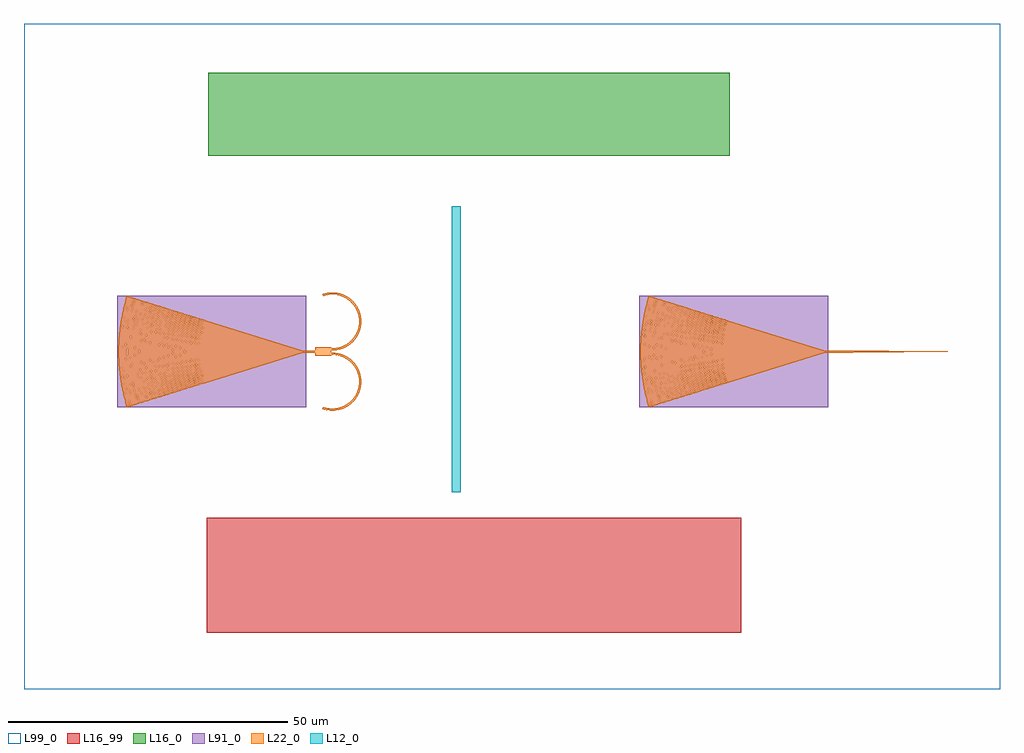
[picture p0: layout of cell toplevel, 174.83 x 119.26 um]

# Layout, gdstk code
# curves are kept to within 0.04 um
from math import pi, radians
import gdstk
lib = gdstk.Library(unit=1e-6, precision=1e-09)
def R(c, l, rs):  # rectangles x0, y0, x1, y1
    for r in rs: c.add(gdstk.rectangle(r[:2], r[2:], *l))
def P(c, l, *ps):  # polygons
    for p in ps: c.add(gdstk.Polygon(p, *l))
L12_0 = (12, 0)
L16_0 = (16, 0)
L16_99 = (16, 99)
L22_0 = (22, 0)
L91_0 = (91, 0)
L99_0 = (99, 0)

arc = lib.new_cell('arc')
P(arc, L22_0, [(18.424,-5.724),(18.233,-5.665),(18.622,-4.216),(18.871,-2.906),(19.028,-1.582),(19.093,-0.083),(19.041,1.416),(18.871,2.906),(18.622,4.216),(18.233,5.665),(18.424,5.724),(18.779,4.425),(19.068,2.937),(19.227,1.599),(19.293,0.084),(19.252,-1.263),(19.093,-2.77),(18.817,-4.26)])

arc002 = lib.new_cell('arc002')
P(arc002, L22_0, [(19.203,-5.966),(19.012,-5.907),(19.378,-4.566),(19.676,-3.03),(19.84,-1.65),(19.908,-0.087),(19.853,1.476),(19.702,2.858),(19.417,4.396),(19.012,5.907),(19.203,5.966),(19.612,4.44),(19.874,3.061),(20.053,1.491),(20.108,0.088),(20.053,-1.491),(19.874,-3.061),(19.612,-4.44)])

arc003 = lib.new_cell('arc003')
P(arc003, L22_0, [(19.701,-6.121),(19.292,-5.994),(19.703,-4.461),(19.966,-3.075),(20.146,-1.498),(20.201,-0.088),(20.146,1.498),(19.966,3.075),(19.703,4.461),(19.292,5.994),(19.701,6.121),(20.121,4.556),(20.39,3.14),(20.559,1.709),(20.63,0.09),(20.573,-1.53),(20.39,-3.14),(20.121,-4.556)])

arc004 = lib.new_cell('arc004')
P(arc004, L22_0, [(19.981,-6.208),(19.79,-6.149),(20.212,-4.576),(20.482,-3.154),(20.652,-1.717),(20.723,-0.09),(20.666,1.537),(20.482,3.154),(20.212,4.576),(19.79,6.149),(19.981,6.208),(20.366,4.798),(20.679,3.185),(20.866,1.551),(20.923,0.091),(20.866,-1.551),(20.679,-3.185),(20.366,-4.798)])

arc013 = lib.new_cell('arc013')
P(arc013, L22_0, [(23.592,-7.33),(23.183,-7.203),(23.677,-5.361),(23.993,-3.695),(24.193,-2.011),(24.276,-0.106),(24.224,1.589),(24.025,3.485),(23.677,5.361),(23.183,7.203),(23.592,7.33),(24.047,5.666),(24.417,3.76),(24.637,1.832),(24.705,0.108),(24.637,-1.832),(24.449,-3.547),(24.095,-5.455)])

arc024 = lib.new_cell('arc024')
P(arc024, L22_0, [(27.764,-8.626),(27.573,-8.567),(27.921,-7.355),(28.215,-6.13),(28.456,-4.892),(28.642,-3.646),(28.811,-1.889),(28.873,-0.126),(28.827,1.638),(28.642,3.646),(28.456,4.892),(28.215,6.13),(27.921,7.355),(27.573,8.567),(27.764,8.626),(28.298,6.667),(28.514,5.675),(28.734,4.425),(28.9,3.167),(28.993,2.156),(29.073,0.127),(29.011,-1.903),(28.927,-2.914),(28.772,-4.174),(28.609,-5.176),(28.355,-6.42),(28.114,-7.406)])

arc001 = lib.new_cell('arc001')
P(arc001, L22_0, [(18.923,-5.879),(18.513,-5.752),(18.87,-4.446),(19.16,-2.951),(19.32,-1.606),(19.386,-0.085),(19.333,1.438),(19.16,2.951),(18.87,4.446),(18.513,5.752),(18.923,5.879),(19.326,4.376),(19.584,3.016),(19.747,1.642),(19.815,0.087),(19.773,-1.297),(19.61,-2.845),(19.326,-4.376)])

arc025 = lib.new_cell('arc025')
P(arc025, L22_0, [(28.262,-8.781),(27.853,-8.654),(28.389,-6.689),(28.826,-4.439),(29.066,-2.417),(29.166,-0.127),(29.104,1.909),(28.864,4.188),(28.446,6.441),(27.853,8.654),(28.262,8.781),(28.806,6.787),(29.25,4.505),(29.514,2.195),(29.595,0.129),(29.514,-2.195),(29.25,-4.505),(28.806,-6.787)])

arc005 = lib.new_cell('arc005')
P(arc005, L22_0, [(20.479,-6.363),(20.07,-6.236),(20.456,-4.82),(20.771,-3.199),(20.944,-1.741),(21.016,-0.092),(20.971,1.375),(20.799,3.017),(20.497,4.641),(20.07,6.236),(20.479,6.363),(20.916,4.736),(21.195,3.264),(21.386,1.59),(21.445,0.094),(21.386,-1.59),(21.223,-3.079),(20.916,-4.736)])

arc014 = lib.new_cell('arc014')
P(arc014, L22_0, [(23.872,-7.417),(23.681,-7.358),(24.186,-5.476),(24.509,-3.775),(24.713,-2.055),(24.798,-0.108),(24.745,1.623),(24.6,3.131),(24.44,4.202),(24.233,5.265),(23.98,6.317),(23.681,7.358),(23.872,7.417),(24.332,5.733),(24.707,3.805),(24.912,2.071),(24.998,0.109),(24.929,-1.854),(24.707,-3.805),(24.332,-5.733)])

arc026 = lib.new_cell('arc026')
P(arc026, L22_0, [(28.542,-8.868),(28.351,-8.809),(28.709,-7.563),(29.011,-6.303),(29.259,-5.031),(29.451,-3.749),(29.625,-1.943),(29.688,-0.13),(29.625,1.943),(29.451,3.749),(29.259,5.031),(29.011,6.303),(28.709,7.563),(28.351,8.809),(28.542,8.868),(29.092,6.854),(29.363,5.578),(29.54,4.549),(29.681,3.515),(29.806,2.216),(29.888,0.13),(29.865,-1.174),(29.806,-2.216),(29.681,-3.515),(29.54,-4.549),(29.363,-5.578),(29.092,-6.854)])

arc006 = lib.new_cell('arc006')
P(arc006, L22_0, [(20.759,-6.45),(20.568,-6.391),(20.964,-4.939),(21.287,-3.278),(21.479,-1.597),(21.538,-0.094),(21.479,1.597),(21.315,3.092),(21.006,4.756),(20.568,6.391),(20.759,6.45),(21.202,4.8),(21.485,3.309),(21.678,1.612),(21.738,0.095),(21.678,-1.612),(21.485,-3.309),(21.202,-4.8)])

arc015 = lib.new_cell('arc015')
P(arc015, L22_0, [(24.371,-7.572),(23.961,-7.445),(24.423,-5.754),(24.799,-3.819),(25.005,-2.079),(25.091,-0.11),(25.022,1.861),(24.799,3.819),(24.423,5.754),(23.961,7.445),(24.371,7.572),(24.84,5.853),(25.223,3.884),(25.45,1.892),(25.52,0.111),(25.45,-1.892),(25.256,-3.664),(24.89,-5.635)])

arc027 = lib.new_cell('arc027')
P(arc027, L22_0, [(29.041,-9.023),(28.631,-8.896),(29.241,-6.621),(29.632,-4.563),(29.899,-2.223),(29.981,-0.131),(29.899,2.223),(29.671,4.305),(29.241,6.621),(28.631,8.896),(29.041,9.023),(29.6,6.974),(30.056,4.629),(30.326,2.255),(30.41,0.133),(30.326,-2.255),(30.056,-4.629),(29.6,-6.974)])

arc007 = lib.new_cell('arc007')
P(arc007, L22_0, [(21.258,-6.605),(20.848,-6.478),(21.292,-4.821),(21.577,-3.323),(21.771,-1.619),(21.831,-0.095),(21.771,1.619),(21.577,3.323),(21.292,4.821),(20.848,6.478),(21.258,6.605),(21.667,5.105),(22.001,3.388),(22.199,1.651),(22.26,0.097),(22.199,-1.651),(22.001,-3.388),(21.667,-5.105)])

arc016 = lib.new_cell('arc016')
P(arc016, L22_0, [(24.651,-7.659),(24.46,-7.6),(24.931,-5.874),(25.315,-3.899),(25.543,-1.899),(25.613,-0.112),(25.572,1.453),(25.408,3.234),(25.243,4.34),(25.029,5.438),(24.768,6.525),(24.46,7.6),(24.651,7.659),(24.962,6.576),(25.176,5.7),(25.512,3.929),(25.66,2.812),(25.742,1.914),(25.813,0.113),(25.758,-1.689),(25.66,-2.812),(25.546,-3.706),(25.36,-4.818),(25.176,-5.7),(24.962,-6.576)])

arc028 = lib.new_cell('arc028')
P(arc028, L22_0, [(29.321,-9.11),(29.13,-9.051),(29.497,-7.771),(29.808,-6.476),(30.062,-5.169),(30.259,-3.852),(30.438,-1.996),(30.503,-0.133),(30.438,1.996),(30.259,3.852),(30.062,5.169),(29.808,6.476),(29.497,7.771),(29.13,9.051),(29.321,9.11),(29.885,7.041),(30.113,5.993),(30.345,4.673),(30.598,2.544),(30.668,1.474),(30.703,0.134),(30.689,-0.938),(30.619,-2.277),(30.385,-4.408),(30.213,-5.467),(29.945,-6.78),(29.621,-8.08)])

arc031 = lib.new_cell('arc031')
P(arc031, L22_0, [(30.597,-9.507),(30.188,-9.379),(30.831,-6.981),(31.243,-4.812),(31.503,-2.619),(31.611,-0.138),(31.544,2.069),(31.284,4.539),(30.831,6.981),(30.188,9.379),(30.597,9.507),(31.186,7.348),(31.667,4.877),(31.952,2.376),(32.04,0.14),(31.952,-2.376),(31.667,-4.877),(31.186,-7.348)])

arc017 = lib.new_cell('arc017')
P(arc017, L22_0, [(25.149,-7.814),(24.74,-7.687),(25.267,-5.721),(25.604,-3.943),(25.835,-1.921),(25.906,-0.113),(25.851,1.695),(25.638,3.72),(25.267,5.721),(24.74,7.687),(25.149,7.814),(25.685,5.815),(26.028,4.008),(26.244,2.182),(26.335,0.115),(26.279,-1.723),(26.062,-3.781),(25.685,-5.815)])

arc029 = lib.new_cell('arc029')
P(arc029, L22_0, [(29.819,-9.265),(29.409,-9.138),(29.976,-7.063),(30.437,-4.688),(30.712,-2.284),(30.796,-0.134),(30.712,2.284),(30.477,4.422),(30.036,6.801),(29.409,9.138),(29.819,9.265),(30.393,7.161),(30.861,4.753),(31.118,2.587),(31.225,0.136),(31.139,-2.315),(30.861,-4.753),(30.393,-7.161)])

arc008 = lib.new_cell('arc008')
P(arc008, L22_0, [(21.538,-6.692),(21.347,-6.632),(21.801,-4.936),(22.093,-3.402),(22.292,-1.658),(22.353,-0.098),(22.292,1.658),(22.122,3.209),(21.801,4.936),(21.347,6.632),(21.538,6.692),(21.952,5.172),(22.29,3.433),(22.476,1.869),(22.553,0.098),(22.491,-1.672),(22.29,-3.433),(21.952,-5.172)])

arc019 = lib.new_cell('arc019')
P(arc019, L22_0, [(25.927,-8.056),(25.518,-7.928),(26.062,-5.901),(26.41,-4.067),(26.648,-1.981),(26.721,-0.117),(26.648,1.981),(26.41,4.067),(26.062,5.901),(25.518,7.928),(25.927,8.056),(26.48,5.995),(26.834,4.133),(27.057,2.25),(27.15,0.119),(27.075,-2.013),(26.834,-4.133),(26.48,-5.995)])

arc030 = lib.new_cell('arc030')
P(arc030, L22_0, [(30.099,-9.352),(29.908,-9.292),(30.285,-7.978),(30.545,-6.916),(30.818,-5.576),(31.032,-4.226),(31.232,-2.322),(31.318,-0.137),(31.268,1.777),(31.067,3.955),(30.865,5.307),(30.604,6.649),(30.285,7.978),(29.908,9.292),(30.099,9.352),(30.407,8.295),(30.74,6.96),(31.151,4.797),(31.41,2.611),(31.482,1.513),(31.518,0.138),(31.451,-2.063),(31.331,-3.433),(31.192,-4.525),(31.015,-5.612),(30.74,-6.96),(30.407,-8.295)])

arc032 = lib.new_cell('arc032')
P(arc032, L22_0, [(30.877,-9.594),(30.686,-9.534),(31.073,-8.186),(31.401,-6.822),(31.668,-5.445),(31.876,-4.058),(32.064,-2.103),(32.133,-0.14),(32.064,2.103),(31.876,4.058),(31.668,5.445),(31.401,6.822),(31.073,8.186),(30.686,9.534),(30.877,9.594),(31.266,8.237),(31.535,7.14),(31.765,6.034),(31.956,4.921),(32.109,3.803),(32.222,2.679),(32.296,1.552),(32.333,0.141),(32.264,-2.116),(32.141,-3.522),(31.998,-4.642),(31.817,-5.757),(31.535,-7.14),(31.266,-8.237)])

arc018 = lib.new_cell('arc018')
P(arc018, L22_0, [(25.429,-7.901),(25.238,-7.841),(25.556,-6.732),(25.826,-5.611),(26.046,-4.478),(26.217,-3.337),(26.372,-1.729),(26.428,-0.115),(26.372,1.729),(26.217,3.337),(26.046,4.478),(25.826,5.611),(25.556,6.732),(25.238,7.841),(25.429,7.901),(25.75,6.783),(25.971,5.88),(26.318,4.053),(26.537,2.206),(26.608,1.046),(26.628,0.116),(26.608,-1.046),(26.555,-1.975),(26.47,-2.901),(26.318,-4.053),(25.971,-5.88),(25.75,-6.783)])

arc033 = lib.new_cell('arc033')
P(arc033, L22_0, [(31.375,-9.748),(30.966,-9.621),(31.626,-7.16),(32.048,-4.936),(32.315,-2.687),(32.426,-0.142),(32.357,2.122),(32.09,4.656),(31.626,7.16),(30.966,9.621),(31.375,9.748),(32.044,7.255),(32.472,5.001),(32.765,2.436),(32.855,0.143),(32.765,-2.436),(32.515,-4.717),(32.044,-7.255)])

arc009 = lib.new_cell('arc009')
P(arc009, L22_0, [(22.036,-6.847),(21.627,-6.719),(22.043,-5.193),(22.382,-3.447),(22.584,-1.679),(22.646,-0.099),(22.598,1.482),(22.412,3.251),(22.087,5.001),(21.627,6.719),(22.036,6.847),(22.46,5.292),(22.806,3.512),(22.996,1.912),(23.075,0.101),(23.026,-1.51),(22.836,-3.313),(22.505,-5.095)])

arc020 = lib.new_cell('arc020')
P(arc020, L22_0, [(26.207,-8.143),(26.016,-8.083),(26.344,-6.94),(26.622,-5.784),(26.849,-4.616),(27.025,-3.44),(27.185,-1.783),(27.243,-0.119),(27.185,1.783),(27.025,3.44),(26.849,4.616),(26.622,5.784),(26.344,6.94),(26.016,8.083),(26.207,8.143),(26.712,6.294),(26.961,5.122),(27.123,4.177),(27.253,3.227),(27.368,2.035),(27.443,0.12),(27.422,-1.078),(27.368,-2.035),(27.159,-3.94),(27.005,-4.886),(26.766,-6.06),(26.538,-6.991)])

arc034 = lib.new_cell('arc034')
P(arc034, L22_0, [(31.655,-9.835),(31.464,-9.776),(31.787,-8.671),(32.135,-7.276),(32.422,-5.866),(32.647,-4.446),(32.878,-2.156),(32.948,-0.144),(32.933,1.007),(32.878,2.156),(32.647,4.446),(32.422,5.866),(32.135,7.276),(31.787,8.671),(31.464,9.776),(31.655,9.835),(31.98,8.724),(32.265,7.602),(32.566,6.186),(32.762,5.046),(32.951,3.611),(33.057,2.458),(33.123,1.302),(33.148,0.145),(33.123,-1.302),(33.057,-2.458),(32.951,-3.611),(32.805,-4.759),(32.619,-5.902),(32.33,-7.32),(31.98,-8.724)])

arc010 = lib.new_cell('arc010')
P(arc010, L22_0, [(22.316,-6.934),(22.125,-6.874),(22.551,-5.313),(22.898,-3.526),(23.104,-1.718),(23.168,-0.101),(23.104,1.718),(22.928,3.326),(22.596,5.116),(22.125,6.874),(22.316,6.934),(22.791,5.16),(23.096,3.557),(23.304,1.733),(23.368,0.102),(23.304,-1.733),(23.096,-3.557),(22.791,-5.16)])

arc021 = lib.new_cell('arc021')
P(arc021, L22_0, [(26.706,-8.297),(26.296,-8.17),(26.857,-6.081),(27.215,-4.191),(27.461,-2.042),(27.536,-0.12),(27.461,2.042),(27.251,3.954),(26.857,6.081),(26.296,8.17),(26.706,8.297),(27.275,6.175),(27.639,4.257),(27.869,2.317),(27.965,0.122),(27.888,-2.074),(27.639,-4.257),(27.275,-6.175)])

arc035 = lib.new_cell('arc035')
P(arc035, L22_0, [(32.154,-9.99),(31.744,-9.863),(32.421,-7.34),(32.854,-5.06),(33.15,-2.465),(33.241,-0.145),(33.15,2.465),(32.897,4.773),(32.421,7.34),(31.744,9.863),(32.154,9.99),(32.773,7.722),(33.278,5.125),(33.554,2.79),(33.67,0.147),(33.577,-2.497),(33.278,-5.125),(32.773,-7.722)])

arc011 = lib.new_cell('arc011')
P(arc011, L22_0, [(22.814,-7.088),(22.405,-6.961),(22.882,-5.181),(23.188,-3.571),(23.381,-1.944),(23.461,-0.102),(23.397,1.74),(23.188,3.571),(22.882,5.181),(22.405,6.961),(22.814,7.088),(23.253,5.479),(23.612,3.636),(23.808,1.979),(23.89,0.104),(23.824,-1.771),(23.612,-3.636),(23.253,-5.479)])

arc022 = lib.new_cell('arc022')
P(arc022, L22_0, [(26.986,-8.384),(26.795,-8.325),(27.132,-7.148),(27.419,-5.957),(27.652,-4.754),(27.834,-3.543),(27.998,-1.836),(28.058,-0.122),(28.013,1.592),(27.834,3.543),(27.652,4.754),(27.419,5.957),(27.132,7.148),(26.795,8.325),(26.986,8.384),(27.326,7.199),(27.561,6.24),(27.929,4.301),(28.161,2.341),(28.226,1.357),(28.258,0.123),(28.245,-0.863),(28.18,-2.095),(28.09,-3.078),(27.929,-4.301),(27.561,-6.24),(27.326,-7.199)])

boolean = lib.new_cell('boolean')
P(boolean, L22_0, [(18.144,-5.637),(0.563,-0.175),(0.563,0.175),(18.144,5.637),(18.513,4.274),(18.791,2.808),(18.954,1.325),(19,0),(18.954,-1.325),(18.791,-2.808),(18.513,-4.274)])

arc012 = lib.new_cell('arc012')
P(arc012, L22_0, [(23.094,-7.175),(22.903,-7.116),(23.344,-5.5),(23.704,-3.65),(23.901,-1.987),(23.983,-0.105),(23.932,1.569),(23.735,3.443),(23.391,5.296),(22.903,7.116),(23.094,7.175),(23.539,5.546),(23.901,3.681),(24.117,1.793),(24.183,0.106),(24.117,-1.793),(23.933,-3.472),(23.586,-5.34)])

arc023 = lib.new_cell('arc023')
P(arc023, L22_0, [(27.484,-8.539),(27.075,-8.412),(27.596,-6.502),(28.021,-4.315),(28.254,-2.349),(28.351,-0.124),(28.291,1.855),(28.058,4.071),(27.651,6.261),(27.075,8.412),(27.484,8.539),(28.07,6.355),(28.445,4.381),(28.701,2.134),(28.78,0.126),(28.701,-2.134),(28.445,-4.381),(28.07,-6.355)])

unnamed001 = lib.new_cell('Unnamed001')
R(unnamed001, L91_0, [(-33.85,-10,0,10)])
unnamed001.add(gdstk.Reference(arc, (0,0), rotation=pi))
unnamed001.add(gdstk.Reference(arc002, (0,0), rotation=pi))
unnamed001.add(gdstk.Reference(arc003, (0,0), rotation=pi))
unnamed001.add(gdstk.Reference(arc004, (0,0), rotation=pi))
unnamed001.add(gdstk.Reference(arc013, (0,0), rotation=pi))
unnamed001.add(gdstk.Reference(arc024, (0,0), rotation=pi))
unnamed001.add(gdstk.Reference(arc001, (0,0), rotation=pi))
unnamed001.add(gdstk.Reference(arc025, (0,0), rotation=pi))
unnamed001.add(gdstk.Reference(arc005, (0,0), rotation=pi))
unnamed001.add(gdstk.Reference(arc014, (0,0), rotation=pi))
unnamed001.add(gdstk.Reference(arc026, (0,0), rotation=pi))
unnamed001.add(gdstk.Reference(arc006, (0,0), rotation=pi))
unnamed001.add(gdstk.Reference(arc015, (0,0), rotation=pi))
unnamed001.add(gdstk.Reference(arc027, (0,0), rotation=pi))
unnamed001.add(gdstk.Reference(arc007, (0,0), rotation=pi))
unnamed001.add(gdstk.Reference(arc016, (0,0), rotation=pi))
unnamed001.add(gdstk.Reference(arc028, (0,0), rotation=pi))
unnamed001.add(gdstk.Reference(arc031, (0,0), rotation=pi))
unnamed001.add(gdstk.Reference(arc017, (0,0), rotation=pi))
unnamed001.add(gdstk.Reference(arc029, (0,0), rotation=pi))
unnamed001.add(gdstk.Reference(arc008, (0,0), rotation=pi))
unnamed001.add(gdstk.Reference(arc019, (0,0), rotation=pi))
unnamed001.add(gdstk.Reference(arc030, (0,0), rotation=pi))
unnamed001.add(gdstk.Reference(arc032, (0,0), rotation=pi))
unnamed001.add(gdstk.Reference(arc018, (0,0), rotation=pi))
unnamed001.add(gdstk.Reference(arc033, (0,0), rotation=pi))
unnamed001.add(gdstk.Reference(arc009, (0,0), rotation=pi))
unnamed001.add(gdstk.Reference(arc020, (0,0), rotation=pi))
unnamed001.add(gdstk.Reference(arc034, (0,0), rotation=pi))
unnamed001.add(gdstk.Reference(arc010, (0,0), rotation=pi))
unnamed001.add(gdstk.Reference(arc021, (0,0), rotation=pi))
unnamed001.add(gdstk.Reference(arc035, (0,0), rotation=pi))
unnamed001.add(gdstk.Reference(arc011, (0,0), rotation=pi))
unnamed001.add(gdstk.Reference(arc022, (0,0), rotation=pi))
unnamed001.add(gdstk.Reference(boolean, (0,0), rotation=pi))
unnamed001.add(gdstk.Reference(arc012, (0,0), rotation=pi))
unnamed001.add(gdstk.Reference(arc023, (0,0), rotation=pi))

unnamed003 = lib.new_cell('Unnamed003')
R(unnamed003, L22_0, [(0,-0.175,2,0.175)])

taper = lib.new_cell('taper')
R(taper, L22_0, [(0,-0.175,0.2,0.175)])

taper001 = lib.new_cell('taper001')
R(taper001, L22_0, [(0,-0.775,2.8,0.775)])

unnamed004 = lib.new_cell('Unnamed004')
unnamed004.add(gdstk.Reference(taper, (3,-0.4)))
unnamed004.add(gdstk.Reference(taper, (0,0)))
unnamed004.add(gdstk.Reference(taper, (3,0.4)))
unnamed004.add(gdstk.Reference(taper001, (0.2,0)))

unnamed006 = lib.new_cell('Unnamed006')
R(unnamed006, L22_0, [(0,-0.175,0.01,0.175)])

unnamed007 = lib.new_cell('Unnamed007')
P(unnamed007, L22_0, [(-0.066,-10.175),(-0.942,-10.089),(-1.77,-9.863),(-1.65,-9.534),(-1.085,-9.702),(-0.503,-9.799),(0.065,-9.825),(0.654,-9.781),(1.713,-9.511),(2.232,-9.278),(2.738,-8.973),(3.605,-8.208),(3.969,-7.744),(4.264,-7.258),(4.669,-6.219),(4.78,-5.661),(4.825,-5.052),(4.757,-4.191),(4.515,-3.297),(4.084,-2.43),(3.561,-1.744),(2.822,-1.086),(1.965,-0.593),(0.984,-0.276),(0,-0.175),(0,0.175),(0.068,0.175),(1.077,0.062),(2.024,-0.237),(2.934,-0.737),(3.695,-1.376),(4.344,-2.187),(4.793,-3.048),(5.082,-4.021),(5.175,-5.055),(5.06,-6.087),(4.75,-7.055),(4.257,-7.943),(3.6,-8.718),(2.824,-9.337),(1.922,-9.805),(0.969,-10.084)])

unnamed009 = lib.new_cell('Unnamed009')
R(unnamed009, L22_0, [(0,-0.175,0.01,0.175)])

unnamed010 = lib.new_cell('Unnamed010')
P(unnamed010, L22_0, [(0,-0.175),(0,0.175),(0.984,0.276),(1.868,0.551),(2.719,1.014),(3.489,1.667),(4.084,2.43),(4.492,3.238),(4.73,4.046),(4.825,4.946),(4.704,6.075),(4.523,6.681),(4.313,7.164),(4.04,7.639),(3.674,8.128),(3.265,8.553),(2.807,8.925),(2.344,9.218),(1.772,9.488),(1.191,9.676),(0.654,9.781),(0.065,9.825),(-0.503,9.799),(-1.085,9.702),(-1.65,9.534),(-1.749,9.871),(-0.898,10.097),(0.07,10.175),(1.124,10.052),(2.027,9.762),(2.918,9.274),(3.712,8.606),(4.333,7.83),(4.819,6.887),(5.078,5.999),(5.175,4.942),(5.064,3.933),(4.767,2.985),(4.256,2.055),(3.631,1.312),(2.841,0.674),(1.962,0.211),(0.989,-0.08)])

unnamed002 = lib.new_cell('Unnamed002')
unnamed002.add(gdstk.Reference(unnamed001, (33.67,0)))
unnamed002.add(gdstk.Reference(unnamed003, (33.106,0)))
unnamed002.add(gdstk.Reference(unnamed004, (35.106,0)))
unnamed002.add(gdstk.Reference(unnamed006, (38.306,-0.4)))
unnamed002.add(gdstk.Reference(unnamed007, (38.316,-0.4)))
unnamed002.add(gdstk.Reference(unnamed009, (38.306,0.4)))
unnamed002.add(gdstk.Reference(unnamed010, (38.316,0.4)))

arc039 = lib.new_cell('arc039')
P(arc039, L22_0, [(19.701,-6.121),(19.292,-5.994),(19.703,-4.461),(19.966,-3.075),(20.146,-1.498),(20.201,-0.088),(20.146,1.498),(19.966,3.075),(19.703,4.461),(19.292,5.994),(19.701,6.121),(20.121,4.556),(20.39,3.14),(20.559,1.709),(20.63,0.09),(20.573,-1.53),(20.39,-3.14),(20.121,-4.556)])

arc049 = lib.new_cell('arc049')
P(arc049, L22_0, [(23.592,-7.33),(23.183,-7.203),(23.677,-5.361),(23.993,-3.695),(24.193,-2.011),(24.276,-0.106),(24.224,1.589),(24.025,3.485),(23.677,5.361),(23.183,7.203),(23.592,7.33),(24.047,5.666),(24.417,3.76),(24.637,1.832),(24.705,0.108),(24.637,-1.832),(24.449,-3.547),(24.095,-5.455)])

arc055 = lib.new_cell('arc055')
P(arc055, L22_0, [(25.927,-8.056),(25.518,-7.928),(26.062,-5.901),(26.41,-4.067),(26.648,-1.981),(26.721,-0.117),(26.648,1.981),(26.41,4.067),(26.062,5.901),(25.518,7.928),(25.927,8.056),(26.48,5.995),(26.834,4.133),(27.057,2.25),(27.15,0.119),(27.075,-2.013),(26.834,-4.133),(26.48,-5.995)])

arc056 = lib.new_cell('arc056')
P(arc056, L22_0, [(26.207,-8.143),(26.016,-8.083),(26.344,-6.94),(26.622,-5.784),(26.849,-4.616),(27.025,-3.44),(27.185,-1.783),(27.243,-0.119),(27.185,1.783),(27.025,3.44),(26.849,4.616),(26.622,5.784),(26.344,6.94),(26.016,8.083),(26.207,8.143),(26.712,6.294),(26.961,5.122),(27.123,4.177),(27.253,3.227),(27.368,2.035),(27.443,0.12),(27.422,-1.078),(27.368,-2.035),(27.159,-3.94),(27.005,-4.886),(26.766,-6.06),(26.538,-6.991)])

arc064 = lib.new_cell('arc064')
P(arc064, L22_0, [(29.321,-9.11),(29.13,-9.051),(29.497,-7.771),(29.808,-6.476),(30.062,-5.169),(30.259,-3.852),(30.438,-1.996),(30.503,-0.133),(30.438,1.996),(30.259,3.852),(30.062,5.169),(29.808,6.476),(29.497,7.771),(29.13,9.051),(29.321,9.11),(29.885,7.041),(30.113,5.993),(30.345,4.673),(30.598,2.544),(30.668,1.474),(30.703,0.134),(30.689,-0.938),(30.619,-2.277),(30.385,-4.408),(30.213,-5.467),(29.945,-6.78),(29.621,-8.08)])

arc070 = lib.new_cell('arc070')
P(arc070, L22_0, [(31.655,-9.835),(31.464,-9.776),(31.787,-8.671),(32.135,-7.276),(32.422,-5.866),(32.647,-4.446),(32.878,-2.156),(32.948,-0.144),(32.933,1.007),(32.878,2.156),(32.647,4.446),(32.422,5.866),(32.135,7.276),(31.787,8.671),(31.464,9.776),(31.655,9.835),(31.98,8.724),(32.265,7.602),(32.566,6.186),(32.762,5.046),(32.951,3.611),(33.057,2.458),(33.123,1.302),(33.148,0.145),(33.123,-1.302),(33.057,-2.458),(32.951,-3.611),(32.805,-4.759),(32.619,-5.902),(32.33,-7.32),(31.98,-8.724)])

arc040 = lib.new_cell('arc040')
P(arc040, L22_0, [(19.981,-6.208),(19.79,-6.149),(20.212,-4.576),(20.482,-3.154),(20.652,-1.717),(20.723,-0.09),(20.666,1.537),(20.482,3.154),(20.212,4.576),(19.79,6.149),(19.981,6.208),(20.366,4.798),(20.679,3.185),(20.866,1.551),(20.923,0.091),(20.866,-1.551),(20.679,-3.185),(20.366,-4.798)])

arc050 = lib.new_cell('arc050')
P(arc050, L22_0, [(23.872,-7.417),(23.681,-7.358),(24.186,-5.476),(24.509,-3.775),(24.713,-2.055),(24.798,-0.108),(24.745,1.623),(24.6,3.131),(24.44,4.202),(24.233,5.265),(23.98,6.317),(23.681,7.358),(23.872,7.417),(24.332,5.733),(24.707,3.805),(24.912,2.071),(24.998,0.109),(24.929,-1.854),(24.707,-3.805),(24.332,-5.733)])

arc057 = lib.new_cell('arc057')
P(arc057, L22_0, [(26.706,-8.297),(26.296,-8.17),(26.857,-6.081),(27.215,-4.191),(27.461,-2.042),(27.536,-0.12),(27.461,2.042),(27.251,3.954),(26.857,6.081),(26.296,8.17),(26.706,8.297),(27.275,6.175),(27.639,4.257),(27.869,2.317),(27.965,0.122),(27.888,-2.074),(27.639,-4.257),(27.275,-6.175)])

arc041 = lib.new_cell('arc041')
P(arc041, L22_0, [(20.479,-6.363),(20.07,-6.236),(20.456,-4.82),(20.771,-3.199),(20.944,-1.741),(21.016,-0.092),(20.971,1.375),(20.799,3.017),(20.497,4.641),(20.07,6.236),(20.479,6.363),(20.916,4.736),(21.195,3.264),(21.386,1.59),(21.445,0.094),(21.386,-1.59),(21.223,-3.079),(20.916,-4.736)])

arc065 = lib.new_cell('arc065')
P(arc065, L22_0, [(29.819,-9.265),(29.409,-9.138),(29.976,-7.063),(30.437,-4.688),(30.712,-2.284),(30.796,-0.134),(30.712,2.284),(30.477,4.422),(30.036,6.801),(29.409,9.138),(29.819,9.265),(30.393,7.161),(30.861,4.753),(31.118,2.587),(31.225,0.136),(31.139,-2.315),(30.861,-4.753),(30.393,-7.161)])

arc058 = lib.new_cell('arc058')
P(arc058, L22_0, [(26.986,-8.384),(26.795,-8.325),(27.132,-7.148),(27.419,-5.957),(27.652,-4.754),(27.834,-3.543),(27.998,-1.836),(28.058,-0.122),(28.013,1.592),(27.834,3.543),(27.652,4.754),(27.419,5.957),(27.132,7.148),(26.795,8.325),(26.986,8.384),(27.326,7.199),(27.561,6.24),(27.929,4.301),(28.161,2.341),(28.226,1.357),(28.258,0.123),(28.245,-0.863),(28.18,-2.095),(28.09,-3.078),(27.929,-4.301),(27.561,-6.24),(27.326,-7.199)])

arc042 = lib.new_cell('arc042')
P(arc042, L22_0, [(20.759,-6.45),(20.568,-6.391),(20.964,-4.939),(21.287,-3.278),(21.479,-1.597),(21.538,-0.094),(21.479,1.597),(21.315,3.092),(21.006,4.756),(20.568,6.391),(20.759,6.45),(21.202,4.8),(21.485,3.309),(21.678,1.612),(21.738,0.095),(21.678,-1.612),(21.485,-3.309),(21.202,-4.8)])

arc051 = lib.new_cell('arc051')
P(arc051, L22_0, [(24.371,-7.572),(23.961,-7.445),(24.423,-5.754),(24.799,-3.819),(25.005,-2.079),(25.091,-0.11),(25.022,1.861),(24.799,3.819),(24.423,5.754),(23.961,7.445),(24.371,7.572),(24.84,5.853),(25.223,3.884),(25.45,1.892),(25.52,0.111),(25.45,-1.892),(25.256,-3.664),(24.89,-5.635)])

arc059 = lib.new_cell('arc059')
P(arc059, L22_0, [(27.484,-8.539),(27.075,-8.412),(27.596,-6.502),(28.021,-4.315),(28.254,-2.349),(28.351,-0.124),(28.291,1.855),(28.058,4.071),(27.651,6.261),(27.075,8.412),(27.484,8.539),(28.07,6.355),(28.445,4.381),(28.701,2.134),(28.78,0.126),(28.701,-2.134),(28.445,-4.381),(28.07,-6.355)])

arc043 = lib.new_cell('arc043')
P(arc043, L22_0, [(21.258,-6.605),(20.848,-6.478),(21.292,-4.821),(21.577,-3.323),(21.771,-1.619),(21.831,-0.095),(21.771,1.619),(21.577,3.323),(21.292,4.821),(20.848,6.478),(21.258,6.605),(21.667,5.105),(22.001,3.388),(22.199,1.651),(22.26,0.097),(22.199,-1.651),(22.001,-3.388),(21.667,-5.105)])

arc066 = lib.new_cell('arc066')
P(arc066, L22_0, [(30.099,-9.352),(29.908,-9.292),(30.285,-7.978),(30.545,-6.916),(30.818,-5.576),(31.032,-4.226),(31.232,-2.322),(31.318,-0.137),(31.268,1.777),(31.067,3.955),(30.865,5.307),(30.604,6.649),(30.285,7.978),(29.908,9.292),(30.099,9.352),(30.407,8.295),(30.74,6.96),(31.151,4.797),(31.41,2.611),(31.482,1.513),(31.518,0.138),(31.451,-2.063),(31.331,-3.433),(31.192,-4.525),(31.015,-5.612),(30.74,-6.96),(30.407,-8.295)])

arc071 = lib.new_cell('arc071')
P(arc071, L22_0, [(32.154,-9.99),(31.744,-9.863),(32.421,-7.34),(32.854,-5.06),(33.15,-2.465),(33.241,-0.145),(33.15,2.465),(32.897,4.773),(32.421,7.34),(31.744,9.863),(32.154,9.99),(32.773,7.722),(33.278,5.125),(33.554,2.79),(33.67,0.147),(33.577,-2.497),(33.278,-5.125),(32.773,-7.722)])

arc044 = lib.new_cell('arc044')
P(arc044, L22_0, [(21.538,-6.692),(21.347,-6.632),(21.801,-4.936),(22.093,-3.402),(22.292,-1.658),(22.353,-0.098),(22.292,1.658),(22.122,3.209),(21.801,4.936),(21.347,6.632),(21.538,6.692),(21.952,5.172),(22.29,3.433),(22.476,1.869),(22.553,0.098),(22.491,-1.672),(22.29,-3.433),(21.952,-5.172)])

arc052 = lib.new_cell('arc052')
P(arc052, L22_0, [(24.651,-7.659),(24.46,-7.6),(24.931,-5.874),(25.315,-3.899),(25.543,-1.899),(25.613,-0.112),(25.572,1.453),(25.408,3.234),(25.243,4.34),(25.029,5.438),(24.768,6.525),(24.46,7.6),(24.651,7.659),(24.962,6.576),(25.176,5.7),(25.512,3.929),(25.66,2.812),(25.742,1.914),(25.813,0.113),(25.758,-1.689),(25.66,-2.812),(25.546,-3.706),(25.36,-4.818),(25.176,-5.7),(24.962,-6.576)])

arc045 = lib.new_cell('arc045')
P(arc045, L22_0, [(22.036,-6.847),(21.627,-6.719),(22.043,-5.193),(22.382,-3.447),(22.584,-1.679),(22.646,-0.099),(22.598,1.482),(22.412,3.251),(22.087,5.001),(21.627,6.719),(22.036,6.847),(22.46,5.292),(22.806,3.512),(22.996,1.912),(23.075,0.101),(23.026,-1.51),(22.836,-3.313),(22.505,-5.095)])

arc067 = lib.new_cell('arc067')
P(arc067, L22_0, [(30.597,-9.507),(30.188,-9.379),(30.831,-6.981),(31.243,-4.812),(31.503,-2.619),(31.611,-0.138),(31.544,2.069),(31.284,4.539),(30.831,6.981),(30.188,9.379),(30.597,9.507),(31.186,7.348),(31.667,4.877),(31.952,2.376),(32.04,0.14),(31.952,-2.376),(31.667,-4.877),(31.186,-7.348)])

arc046 = lib.new_cell('arc046')
P(arc046, L22_0, [(22.316,-6.934),(22.125,-6.874),(22.551,-5.313),(22.898,-3.526),(23.104,-1.718),(23.168,-0.101),(23.104,1.718),(22.928,3.326),(22.596,5.116),(22.125,6.874),(22.316,6.934),(22.791,5.16),(23.096,3.557),(23.304,1.733),(23.368,0.102),(23.304,-1.733),(23.096,-3.557),(22.791,-5.16)])

arc053 = lib.new_cell('arc053')
P(arc053, L22_0, [(25.149,-7.814),(24.74,-7.687),(25.267,-5.721),(25.604,-3.943),(25.835,-1.921),(25.906,-0.113),(25.851,1.695),(25.638,3.72),(25.267,5.721),(24.74,7.687),(25.149,7.814),(25.685,5.815),(26.028,4.008),(26.244,2.182),(26.335,0.115),(26.279,-1.723),(26.062,-3.781),(25.685,-5.815)])

arc036 = lib.new_cell('arc036')
P(arc036, L22_0, [(18.424,-5.724),(18.233,-5.665),(18.622,-4.216),(18.871,-2.906),(19.028,-1.582),(19.093,-0.083),(19.041,1.416),(18.871,2.906),(18.622,4.216),(18.233,5.665),(18.424,5.724),(18.779,4.425),(19.068,2.937),(19.227,1.599),(19.293,0.084),(19.252,-1.263),(19.093,-2.77),(18.817,-4.26)])

arc047 = lib.new_cell('arc047')
P(arc047, L22_0, [(22.814,-7.088),(22.405,-6.961),(22.882,-5.181),(23.188,-3.571),(23.381,-1.944),(23.461,-0.102),(23.397,1.74),(23.188,3.571),(22.882,5.181),(22.405,6.961),(22.814,7.088),(23.253,5.479),(23.612,3.636),(23.808,1.979),(23.89,0.104),(23.824,-1.771),(23.612,-3.636),(23.253,-5.479)])

arc068 = lib.new_cell('arc068')
P(arc068, L22_0, [(30.877,-9.594),(30.686,-9.534),(31.073,-8.186),(31.401,-6.822),(31.668,-5.445),(31.876,-4.058),(32.064,-2.103),(32.133,-0.14),(32.064,2.103),(31.876,4.058),(31.668,5.445),(31.401,6.822),(31.073,8.186),(30.686,9.534),(30.877,9.594),(31.266,8.237),(31.535,7.14),(31.765,6.034),(31.956,4.921),(32.109,3.803),(32.222,2.679),(32.296,1.552),(32.333,0.141),(32.264,-2.116),(32.141,-3.522),(31.998,-4.642),(31.817,-5.757),(31.535,-7.14),(31.266,-8.237)])

arc037 = lib.new_cell('arc037')
P(arc037, L22_0, [(18.923,-5.879),(18.513,-5.752),(18.87,-4.446),(19.16,-2.951),(19.32,-1.606),(19.386,-0.085),(19.333,1.438),(19.16,2.951),(18.87,4.446),(18.513,5.752),(18.923,5.879),(19.326,4.376),(19.584,3.016),(19.747,1.642),(19.815,0.087),(19.773,-1.297),(19.61,-2.845),(19.326,-4.376)])

arc048 = lib.new_cell('arc048')
P(arc048, L22_0, [(23.094,-7.175),(22.903,-7.116),(23.344,-5.5),(23.704,-3.65),(23.901,-1.987),(23.983,-0.105),(23.932,1.569),(23.735,3.443),(23.391,5.296),(22.903,7.116),(23.094,7.175),(23.539,5.546),(23.901,3.681),(24.117,1.793),(24.183,0.106),(24.117,-1.793),(23.933,-3.472),(23.586,-5.34)])

arc054 = lib.new_cell('arc054')
P(arc054, L22_0, [(25.429,-7.901),(25.238,-7.841),(25.556,-6.732),(25.826,-5.611),(26.046,-4.478),(26.217,-3.337),(26.372,-1.729),(26.428,-0.115),(26.372,1.729),(26.217,3.337),(26.046,4.478),(25.826,5.611),(25.556,6.732),(25.238,7.841),(25.429,7.901),(25.75,6.783),(25.971,5.88),(26.318,4.053),(26.537,2.206),(26.608,1.046),(26.628,0.116),(26.608,-1.046),(26.555,-1.975),(26.47,-2.901),(26.318,-4.053),(25.971,-5.88),(25.75,-6.783)])

arc038 = lib.new_cell('arc038')
P(arc038, L22_0, [(19.203,-5.966),(19.012,-5.907),(19.378,-4.566),(19.676,-3.03),(19.84,-1.65),(19.908,-0.087),(19.853,1.476),(19.702,2.858),(19.417,4.396),(19.012,5.907),(19.203,5.966),(19.612,4.44),(19.874,3.061),(20.053,1.491),(20.108,0.088),(20.053,-1.491),(19.874,-3.061),(19.612,-4.44)])

arc063 = lib.new_cell('arc063')
P(arc063, L22_0, [(29.041,-9.023),(28.631,-8.896),(29.241,-6.621),(29.632,-4.563),(29.899,-2.223),(29.981,-0.131),(29.899,2.223),(29.671,4.305),(29.241,6.621),(28.631,8.896),(29.041,9.023),(29.6,6.974),(30.056,4.629),(30.326,2.255),(30.41,0.133),(30.326,-2.255),(30.056,-4.629),(29.6,-6.974)])

arc069 = lib.new_cell('arc069')
P(arc069, L22_0, [(31.375,-9.748),(30.966,-9.621),(31.626,-7.16),(32.048,-4.936),(32.315,-2.687),(32.426,-0.142),(32.357,2.122),(32.09,4.656),(31.626,7.16),(30.966,9.621),(31.375,9.748),(32.044,7.255),(32.472,5.001),(32.765,2.436),(32.855,0.143),(32.765,-2.436),(32.515,-4.717),(32.044,-7.255)])

arc060 = lib.new_cell('arc060')
P(arc060, L22_0, [(27.764,-8.626),(27.573,-8.567),(27.921,-7.355),(28.215,-6.13),(28.456,-4.892),(28.642,-3.646),(28.811,-1.889),(28.873,-0.126),(28.827,1.638),(28.642,3.646),(28.456,4.892),(28.215,6.13),(27.921,7.355),(27.573,8.567),(27.764,8.626),(28.298,6.667),(28.514,5.675),(28.734,4.425),(28.9,3.167),(28.993,2.156),(29.073,0.127),(29.011,-1.903),(28.927,-2.914),(28.772,-4.174),(28.609,-5.176),(28.355,-6.42),(28.114,-7.406)])

arc061 = lib.new_cell('arc061')
P(arc061, L22_0, [(28.262,-8.781),(27.853,-8.654),(28.389,-6.689),(28.826,-4.439),(29.066,-2.417),(29.166,-0.127),(29.104,1.909),(28.864,4.188),(28.446,6.441),(27.853,8.654),(28.262,8.781),(28.806,6.787),(29.25,4.505),(29.514,2.195),(29.595,0.129),(29.514,-2.195),(29.25,-4.505),(28.806,-6.787)])

arc062 = lib.new_cell('arc062')
P(arc062, L22_0, [(28.542,-8.868),(28.351,-8.809),(28.709,-7.563),(29.011,-6.303),(29.259,-5.031),(29.451,-3.749),(29.625,-1.943),(29.688,-0.13),(29.625,1.943),(29.451,3.749),(29.259,5.031),(29.011,6.303),(28.709,7.563),(28.351,8.809),(28.542,8.868),(29.092,6.854),(29.363,5.578),(29.54,4.549),(29.681,3.515),(29.806,2.216),(29.888,0.13),(29.865,-1.174),(29.806,-2.216),(29.681,-3.515),(29.54,-4.549),(29.363,-5.578),(29.092,-6.854)])

boolean001 = lib.new_cell('boolean001')
P(boolean001, L22_0, [(18.144,-5.637),(0.563,-0.175),(0.563,0.175),(18.144,5.637),(18.513,4.274),(18.791,2.808),(18.954,1.325),(19,0),(18.954,-1.325),(18.791,-2.808),(18.513,-4.274)])

unnamed022 = lib.new_cell('Unnamed022')
R(unnamed022, L91_0, [(-33.85,-10,0,10)])
unnamed022.add(gdstk.Reference(arc039, (0,0), rotation=pi))
unnamed022.add(gdstk.Reference(arc049, (0,0), rotation=pi))
unnamed022.add(gdstk.Reference(arc055, (0,0), rotation=pi))
unnamed022.add(gdstk.Reference(arc056, (0,0), rotation=pi))
unnamed022.add(gdstk.Reference(arc064, (0,0), rotation=pi))
unnamed022.add(gdstk.Reference(arc070, (0,0), rotation=pi))
unnamed022.add(gdstk.Reference(arc040, (0,0), rotation=pi))
unnamed022.add(gdstk.Reference(arc050, (0,0), rotation=pi))
unnamed022.add(gdstk.Reference(arc057, (0,0), rotation=pi))
unnamed022.add(gdstk.Reference(arc041, (0,0), rotation=pi))
unnamed022.add(gdstk.Reference(arc065, (0,0), rotation=pi))
unnamed022.add(gdstk.Reference(arc058, (0,0), rotation=pi))
unnamed022.add(gdstk.Reference(arc042, (0,0), rotation=pi))
unnamed022.add(gdstk.Reference(arc051, (0,0), rotation=pi))
unnamed022.add(gdstk.Reference(arc059, (0,0), rotation=pi))
unnamed022.add(gdstk.Reference(arc043, (0,0), rotation=pi))
unnamed022.add(gdstk.Reference(arc066, (0,0), rotation=pi))
unnamed022.add(gdstk.Reference(arc071, (0,0), rotation=pi))
unnamed022.add(gdstk.Reference(arc044, (0,0), rotation=pi))
unnamed022.add(gdstk.Reference(arc052, (0,0), rotation=pi))
unnamed022.add(gdstk.Reference(arc045, (0,0), rotation=pi))
unnamed022.add(gdstk.Reference(arc067, (0,0), rotation=pi))
unnamed022.add(gdstk.Reference(arc046, (0,0), rotation=pi))
unnamed022.add(gdstk.Reference(arc053, (0,0), rotation=pi))
unnamed022.add(gdstk.Reference(arc036, (0,0), rotation=pi))
unnamed022.add(gdstk.Reference(arc047, (0,0), rotation=pi))
unnamed022.add(gdstk.Reference(arc068, (0,0), rotation=pi))
unnamed022.add(gdstk.Reference(arc037, (0,0), rotation=pi))
unnamed022.add(gdstk.Reference(arc048, (0,0), rotation=pi))
unnamed022.add(gdstk.Reference(arc054, (0,0), rotation=pi))
unnamed022.add(gdstk.Reference(arc038, (0,0), rotation=pi))
unnamed022.add(gdstk.Reference(arc063, (0,0), rotation=pi))
unnamed022.add(gdstk.Reference(arc069, (0,0), rotation=pi))
unnamed022.add(gdstk.Reference(arc060, (0,0), rotation=pi))
unnamed022.add(gdstk.Reference(arc061, (0,0), rotation=pi))
unnamed022.add(gdstk.Reference(arc062, (0,0), rotation=pi))
unnamed022.add(gdstk.Reference(boolean001, (0,0), rotation=pi))

unnamed024 = lib.new_cell('Unnamed024')
R(unnamed024, L22_0, [(0,-0.175,2,0.175)])

unnamed025 = lib.new_cell('Unnamed025')
P(unnamed025, L22_0, [(0,-0.175),(0,0.175),(20,0.025),(20,-0.025)])

unnamed023 = lib.new_cell('Unnamed023')
unnamed023.add(gdstk.Reference(unnamed022, (33.67,0)))
unnamed023.add(gdstk.Reference(unnamed024, (33.106,0)))
unnamed023.add(gdstk.Reference(unnamed025, (35.106,0)))

toplevel = lib.new_cell('toplevel')
R(toplevel, L12_0, [(59.69,-25.21,61.34,26.04)])
R(toplevel, L16_0, [(16.06,35.1,109.51,49.92)])
R(toplevel, L16_99, [(15.85,-50.33,111.56,-29.74)])
R(toplevel, L99_0, [(-16.91,-60.51,157.92,58.75)])
toplevel.add(gdstk.Reference(unnamed002, (0,0)))
toplevel.add(gdstk.Reference(unnamed023, (93.491,0)))

lib.write_gds('toplevel.gds')
